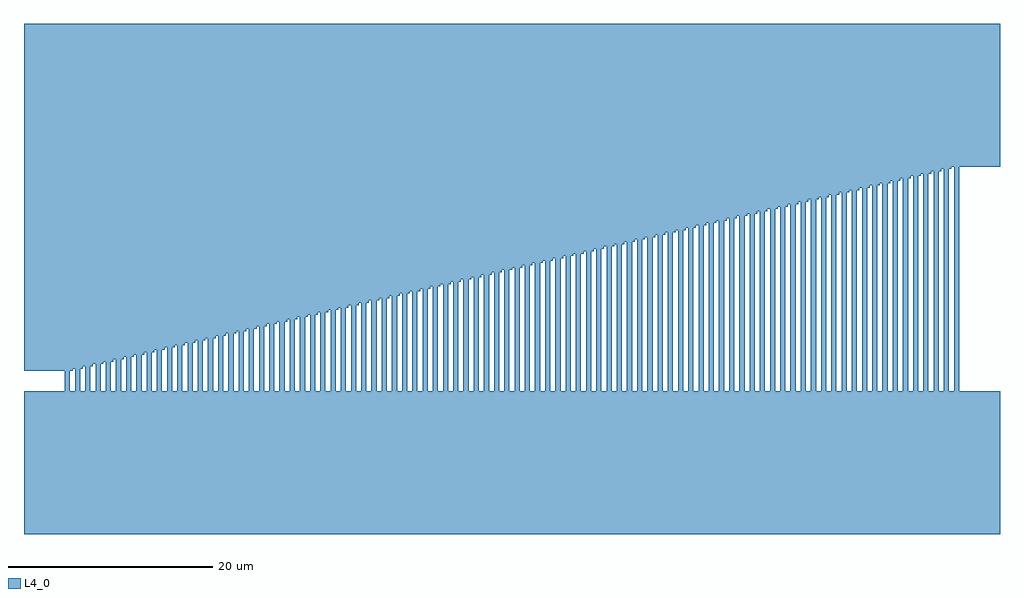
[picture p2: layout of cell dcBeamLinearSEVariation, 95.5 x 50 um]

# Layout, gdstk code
import gdstk
lib = gdstk.Library(unit=1e-6, precision=1e-09)
def R(c, l, rs):  # rectangles x0, y0, x1, y1
    for r in rs: c.add(gdstk.rectangle(r[:2], r[2:], *l))
def P(c, l, *ps):  # polygons
    for p in ps: c.add(gdstk.Polygon(p, *l))
L4_0 = (4, 0)

dcbeamlinearsevariation = lib.new_cell('dcBeamLinearSEVariation')
R(dcbeamlinearsevariation, L4_0, [(0,0,95.5,14), (4,14,4.5,16), (5,14,5.5,16.23), (6,14,6.5,16.46), (7,14,7.5,16.69), (8,14,8.5,16.92), (9,14,9.5,17.149), (10,14,10.5,17.379), (11,14,11.5,17.609), (12,14,12.5,17.839), (13,14,13.5,18.069), (14,14,14.5,18.299), (15,14,15.5,18.529), (16,14,16.5,18.759), (17,14,17.5,18.989), (18,14,18.5,19.218), (19,14,19.5,19.448), (20,14,20.5,19.678), (21,14,21.5,19.908), (22,14,22.5,20.138), (23,14,23.5,20.368), (24,14,24.5,20.598), (25,14,25.5,20.828), (26,14,26.5,21.057), (27,14,27.5,21.287), (28,14,28.5,21.517), (29,14,29.5,21.747), (30,14,30.5,21.977), (31,14,31.5,22.207), (32,14,32.5,22.437), (33,14,33.5,22.667), (34,14,34.5,22.897), (35,14,35.5,23.126), (36,14,36.5,23.356), (37,14,37.5,23.586), (38,14,38.5,23.816), (39,14,39.5,24.046), (40,14,40.5,24.276), (41,14,41.5,24.506), (42,14,42.5,24.736), (43,14,43.5,24.966), (44,14,44.5,25.195), (45,14,45.5,25.425), (46,14,46.5,25.655), (47,14,47.5,25.885), (48,14,48.5,26.115), (49,14,49.5,26.345), (50,14,50.5,26.575), (51,14,51.5,26.805), (52,14,52.5,27.034), (53,14,53.5,27.264), (54,14,54.5,27.494), (55,14,55.5,27.724), (56,14,56.5,27.954), (57,14,57.5,28.184), (58,14,58.5,28.414), (59,14,59.5,28.644), (60,14,60.5,28.874), (61,14,61.5,29.103), (62,14,62.5,29.333), (63,14,63.5,29.563), (64,14,64.5,29.793), (65,14,65.5,30.023), (66,14,66.5,30.253), (67,14,67.5,30.483), (68,14,68.5,30.713), (69,14,69.5,30.943), (70,14,70.5,31.172), (71,14,71.5,31.402), (72,14,72.5,31.632), (73,14,73.5,31.862), (74,14,74.5,32.092), (75,14,75.5,32.322), (76,14,76.5,32.552), (77,14,77.5,32.782), (78,14,78.5,33.011), (79,14,79.5,33.241), (80,14,80.5,33.471), (81,14,81.5,33.701), (82,14,82.5,33.931), (83,14,83.5,34.161), (84,14,84.5,34.391), (85,14,85.5,34.621), (86,14,86.5,34.851), (87,14,87.5,35.08), (88,14,88.5,35.31), (89,14,89.5,35.54), (90,14,90.5,35.77), (91,14,91.5,36)])
P(dcbeamlinearsevariation, L4_0, [(0,16),(0,50),(95.5,50),(95.5,36),(91.75,36),(90.75,36),(90.75,35.77),(89.75,35.77),(89.75,35.54),(88.75,35.54),(88.75,35.31),(87.75,35.31),(87.75,35.08),(86.75,35.08),(86.75,34.851),(85.75,34.851),(85.75,34.621),(84.75,34.621),(84.75,34.391),(83.75,34.391),(83.75,34.161),(82.75,34.161),(82.75,33.931),(81.75,33.931),(81.75,33.701),(80.75,33.701),(80.75,33.471),(79.75,33.471),(79.75,33.241),(78.75,33.241),(78.75,33.011),(77.75,33.011),(77.75,32.782),(76.75,32.782),(76.75,32.552),(75.75,32.552),(75.75,32.322),(74.75,32.322),(74.75,32.092),(73.75,32.092),(73.75,31.862),(72.75,31.862),(72.75,31.632),(71.75,31.632),(71.75,31.402),(70.75,31.402),(70.75,31.172),(69.75,31.172),(69.75,30.943),(68.75,30.943),(68.75,30.713),(67.75,30.713),(67.75,30.483),(66.75,30.483),(66.75,30.253),(65.75,30.253),(65.75,30.023),(64.75,30.023),(64.75,29.793),(63.75,29.793),(63.75,29.563),(62.75,29.563),(62.75,29.333),(61.75,29.333),(61.75,29.103),(60.75,29.103),(60.75,28.874),(59.75,28.874),(59.75,28.644),(58.75,28.644),(58.75,28.414),(57.75,28.414),(57.75,28.184),(56.75,28.184),(56.75,27.954),(55.75,27.954),(55.75,27.724),(54.75,27.724),(54.75,27.494),(53.75,27.494),(53.75,27.264),(52.75,27.264),(52.75,27.034),(51.75,27.034),(51.75,26.805),(50.75,26.805),(50.75,26.575),(49.75,26.575),(49.75,26.345),(48.75,26.345),(48.75,26.115),(47.75,26.115),(47.75,25.885),(46.75,25.885),(46.75,25.655),(45.75,25.655),(45.75,25.425),(44.75,25.425),(44.75,25.195),(43.75,25.195),(43.75,24.966),(42.75,24.966),(42.75,24.736),(41.75,24.736),(41.75,24.506),(40.75,24.506),(40.75,24.276),(39.75,24.276),(39.75,24.046),(38.75,24.046),(38.75,23.816),(37.75,23.816),(37.75,23.586),(36.75,23.586),(36.75,23.356),(35.75,23.356),(35.75,23.126),(34.75,23.126),(34.75,22.897),(33.75,22.897),(33.75,22.667),(32.75,22.667),(32.75,22.437),(31.75,22.437),(31.75,22.207),(30.75,22.207),(30.75,21.977),(29.75,21.977),(29.75,21.747),(28.75,21.747),(28.75,21.517),(27.75,21.517),(27.75,21.287),(26.75,21.287),(26.75,21.057),(25.75,21.057),(25.75,20.828),(24.75,20.828),(24.75,20.598),(23.75,20.598),(23.75,20.368),(22.75,20.368),(22.75,20.138),(21.75,20.138),(21.75,19.908),(20.75,19.908),(20.75,19.678),(19.75,19.678),(19.75,19.448),(18.75,19.448),(18.75,19.218),(17.75,19.218),(17.75,18.989),(16.75,18.989),(16.75,18.759),(15.75,18.759),(15.75,18.529),(14.75,18.529),(14.75,18.299),(13.75,18.299),(13.75,18.069),(12.75,18.069),(12.75,17.839),(11.75,17.839),(11.75,17.609),(10.75,17.609),(10.75,17.379),(9.75,17.379),(9.75,17.149),(8.75,17.149),(8.75,16.92),(7.75,16.92),(7.75,16.69),(6.75,16.69),(6.75,16.46),(5.75,16.46),(5.75,16.23),(4.75,16.23),(4.75,16)])

lib.write_gds('dcBeamLinearSEVariation.gds')
